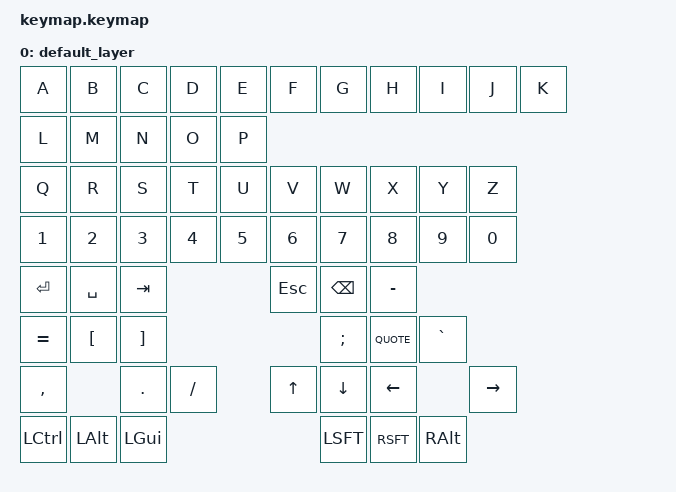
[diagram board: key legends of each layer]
/ {
    keymap {
        compatible = "zmk,keymap";

        default_layer {
            bindings = <
                &kp A &kp B &kp C &kp D &kp E &kp F &kp G &kp H &kp I &kp J &kp K
                &kp L &kp M &kp N &kp O &kp P
                &kp Q &kp R &kp S &kp T &kp U &kp V &kp W &kp X &kp Y &kp Z
                &kp 1 &kp 2 &kp 3 &kp 4 &kp 5 &kp 6 &kp 7 &kp 8 &kp 9 &kp 0
                &kp ENTER &kp SPACE &kp TAB &kp ESC &kp BSPC &kp MINUS
                &kp EQUAL &kp LBKT &kp RBKT &kp SEMI &kp QUOTE &kp GRAVE
                &kp COMMA &kp DOT &kp SLASH &kp UP &kp DOWN &kp LEFT &kp RIGHT
                &kp LCTRL &kp LALT &kp LGUI &kp LSFT &kp RSFT &kp RALT
            >;
        };
    };
};
